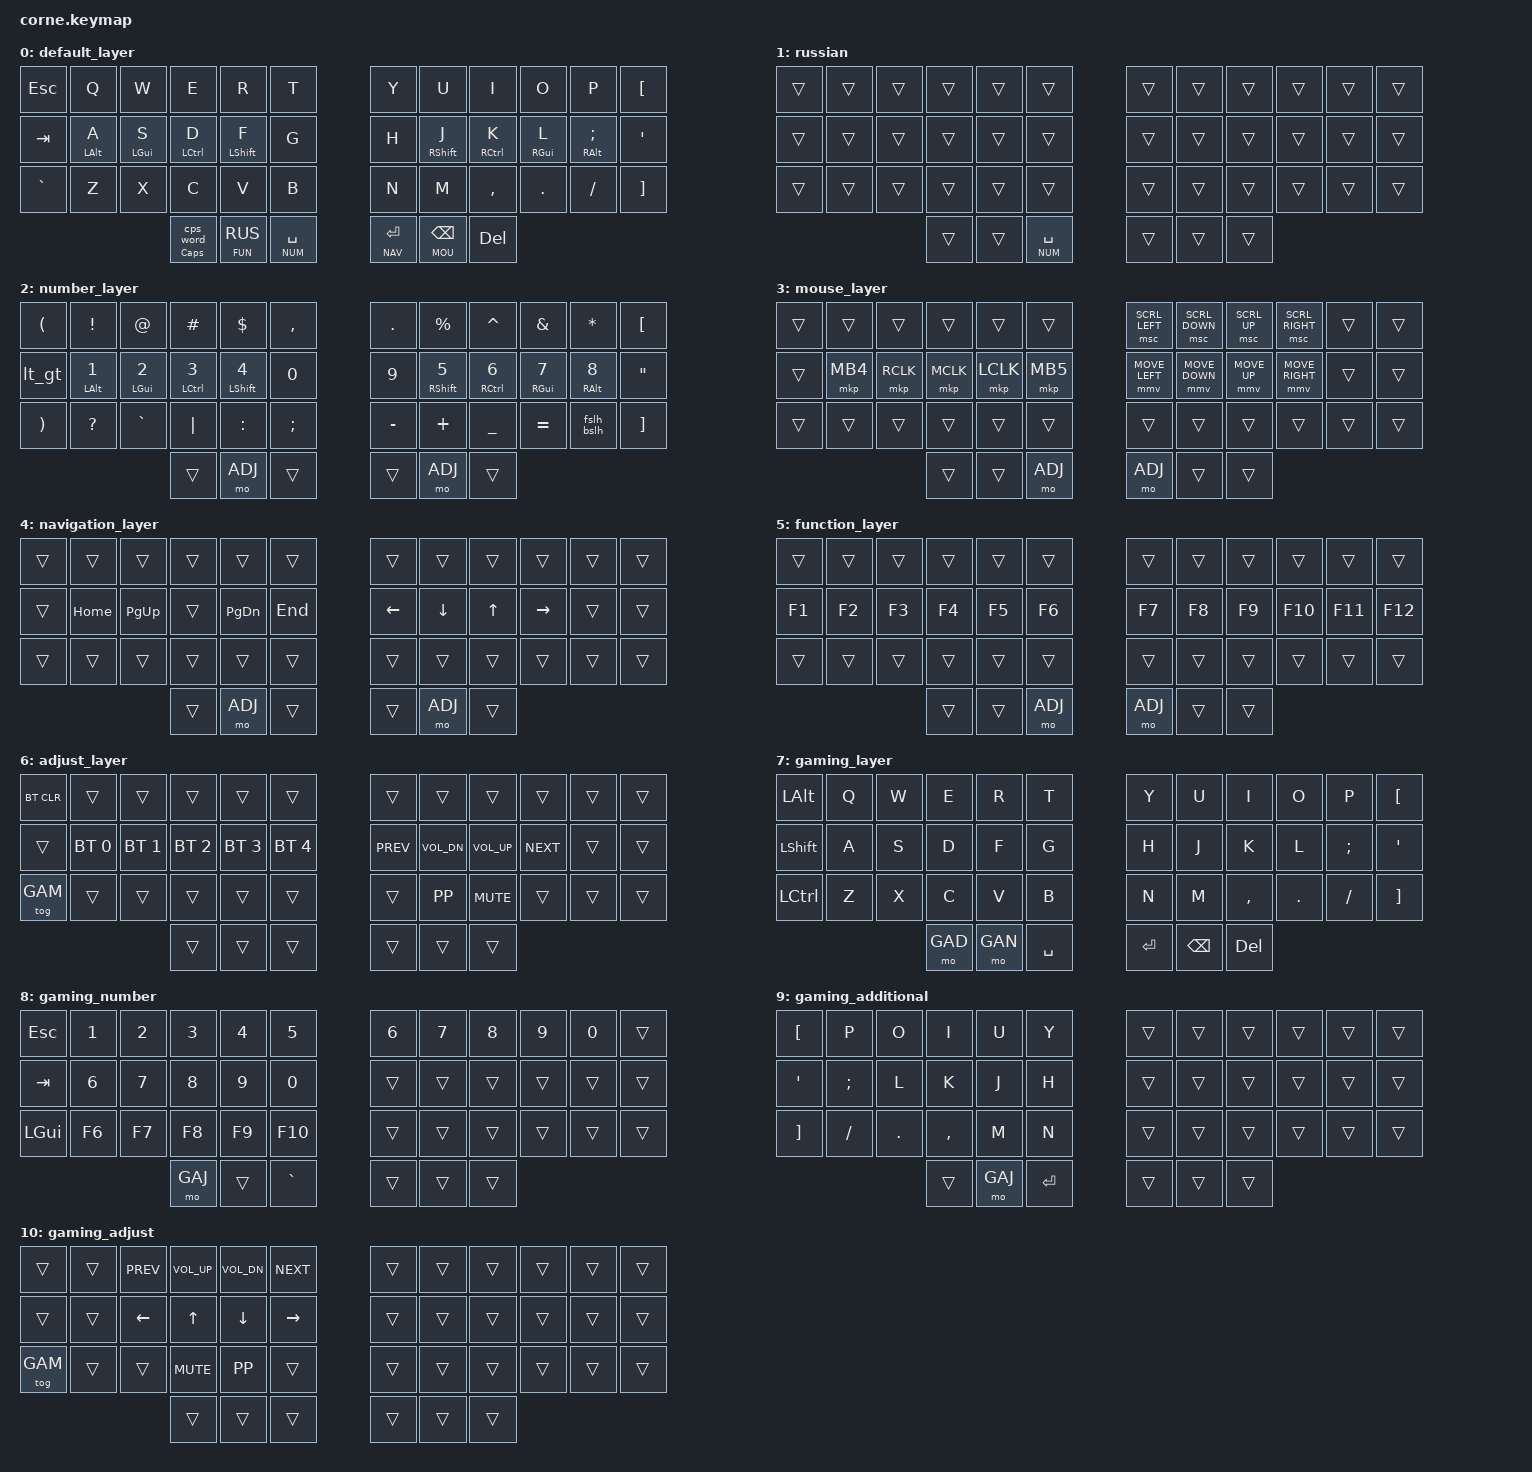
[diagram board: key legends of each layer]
/*
 * Copyright (c) 2020 The ZMK Contributors
 *
 * SPDX-License-Identifier: MIT
 */

#include <behaviors/mouse_keys.dtsi>
#include <behaviors.dtsi>
#include <dt-bindings/zmk/bt.h>
#include <dt-bindings/zmk/keys.h>
#include <dt-bindings/zmk/mouse.h>
#include <dt-bindings/zmk/rgb.h>
#include "extra_keys.h"

#define ZMK_MOUSE_DEFAULT_MOVE_VAL 1200
#define ZMK_MOUSE_DEFAULT_SCRL_VAL 20
#define U_MS_U &mmv MOVE_UP
#define U_MS_D &mmv MOVE_DOWN
#define U_MS_L &mmv MOVE_LEFT
#define U_MS_R &mmv MOVE_RIGHT

#define DEF 0
#define RUS 1
#define NUM 2
#define MOU 3
#define NAV 4
#define FUN 5
#define ADJ 6
#define GAM 7
#define GAN 8
#define GAD 9
#define GAJ 10

&caps_word { continue-list = <UNDERSCORE MINUS BACKSPACE DELETE>; };
&sl { release-after-ms = <5000>; };
&sk { release-after-ms = <5000>; };
&lt {
    tapping-term-ms = <250>;
    quick-tap-ms = <150>;
    flavor = "tap-preferred";
};


/* 

            untitled_layer {
                    bindings = <
&trans    &trans     &trans    &trans   &trans   &trans               &trans   &trans     &trans    &trans   &trans    &trans
&trans    &trans     &trans    &trans   &trans   &trans               &trans   &trans     &trans    &trans   &trans    &trans
&trans    &trans     &trans    &trans   &trans   &trans               &trans   &trans     &trans    &trans   &trans    &trans
                               &trans   &trans   &trans               &trans   &trans     &trans
                    >;
            };

*/
/ {
    behaviors {
        #include "behaviors_mod_morph.dtsi"

        mmv {
            acceleration-exponent = <1>;
            time-to-max-speed-ms = <900>;
            delay-ms = <0>;
        };

        cps_word: cps_word {
            compatible = "zmk,behavior-macro";
            #binding-cells = <0>;
            bindings = <&caps_word>;
        };

        tts: tts {
            compatible = "zmk,behavior-hold-tap";
            #binding-cells = <2>;
            flavor = "tap-preferred";
            tapping-term-ms = <200>;
            bindings = <&kp>, <&cps_word>;
        };

        ts: ts {
            compatible = "zmk,behavior-hold-tap";
            #binding-cells = <2>;
            flavor = "tap-preferred";
            tapping-term-ms = <200>; 
            quick-tap-ms = <150>; 
            bindings = <&kp>, <&kp>;
        };

        alt: alt {
            compatible = "zmk,behavior-hold-tap";
            #binding-cells = <2>;
            flavor = "hold-preferred";
            tapping-term-ms = <150>;
            bindings = <&mo>, <&kp>;
        };

        motog: motog {
            compatible = "zmk,behavior-hold-tap";
            #binding-cells = <2>;
            flavor = "hold-preferred";
            tapping-term-ms = <250>;
            quick-tap-ms = <0>;
            bindings = <&mo>, <&tog_layout>;
        };

        tog_layout: tog_layout {
            compatible = "zmk,behavior-macro-one-param";
            #binding-cells = <1>;
            bindings
                = <&macro_tap &kp NEXT_LAYOUT &macro_param_1to1 &tog MACRO_PLACEHOLDER>
            ;
        };

        lalt: lalt {
            compatible = "zmk,behavior-hold-tap";
            #binding-cells = <2>;
            flavor = "hold-preferred";
            tapping-term-ms = <150>;
            bindings = <&mo_layout>, <&kp>;
        };

        mo_layout: mo_layout {
            compatible = "zmk,behavior-macro-one-param";
            #binding-cells = <1>;
            wait-ms = <0>;
            bindings
                = <&macro_press &macro_param_1to1 &mo MACRO_PLACEHOLDER>
                , <&macro_tap &kp NEXT_LAYOUT>
                , <&macro_pause_for_release>
                , <&macro_tap &kp PREV_LAYOUT>
                , <&macro_release &macro_param_1to1 &mo MACRO_PLACEHOLDER>
            ;
        };
    };
};

/ {
        keymap {
                compatible = "zmk,keymap";

                default_layer {
                    bindings = <
&kp ESC     &kp Q       &kp W       &kp E        &kp R          &kp T                &kp Y           &kp U         &kp I        &kp O       &kp P          &kp LBKT
&kp TAB     &ts LALT A  &ts LGUI S  &ts LCTRL D  &ts LSHFT F    &kp G                &kp H           &ts RSHFT J   &ts RCTRL K  &ts RGUI L  &ts RALT SEMI  &kp SQT
&kp GRAVE   &kp Z       &kp X       &kp C        &kp V          &kp B                &kp N           &kp M         &kp COMMA    &kp DOT     &kp FSLH       &kp RBKT 
                                    &tts CAPS 0  &motog FUN RUS &alt NUM SPACE       &alt NAV ENTER  &lt MOU BSPC  &kp DELETE
                    >;
                };

                russian {
                    bindings = <
&trans  &trans  &trans  &trans  &trans  &trans              &trans  &trans  &trans  &trans  &trans  &trans
&trans  &trans  &trans  &trans  &trans  &trans              &trans  &trans  &trans  &trans  &trans  &trans
&trans  &trans  &trans  &trans  &trans  &trans              &trans  &trans  &trans  &trans  &trans  &trans
                        &trans  &trans  &lalt NUM SPACE     &trans  &trans  &trans
                    >;

                };
		number_layer {
		    bindings = <
&kp LPAR    &kp EXCL    &kp AT	    &kp HASH	    &kp DOLLAR      &kp COMMA       &kp PERIOD  &kp PRCNT       &kp CARET	&kp AMPS    &kp STAR    &kp LEFT_BRACKET
&lt_gt      &ts LALT N1 &ts LGUI N2 &ts LCTRL N3    &ts LSHFT N4    &kp N0          &kp N9      &ts RSHFT N5    &ts RCTRL N6    &ts RGUI N7 &ts RALT N8 &kp DOUBLE_QUOTES
&kp RPAR    &kp QMARK   &kp GRAVE   &kp PIPE        &kp COLON       &kp SEMI        &kp MINUS   &kp PLUS        &kp UNDER	&kp EQUAL   &fslh_bslh	&kp RIGHT_BRACKET
				    &trans          &mo ADJ         &trans	    &trans	&mo ADJ	        &trans
		    >;
		};


                mouse_layer {
                        bindings = <
&trans     &trans      &trans      &trans       &trans        &trans                &msc SCRL_LEFT  &msc SCRL_DOWN  &msc SCRL_UP  &msc SCRL_RIGHT  &trans       &trans
&trans     &mkp MB4    &mkp RCLK   &mkp MCLK    &mkp LCLK     &mkp MB5              &mmv MOVE_LEFT  &mmv MOVE_DOWN  &mmv MOVE_UP  &mmv MOVE_RIGHT  &trans       &trans
&trans     &trans      &trans      &trans       &trans        &trans                &trans          &trans          &trans        &trans           &trans       &trans
                                   &trans       &trans        &mo ADJ               &mo ADJ         &trans          &trans
                    >;

                };


                navigation_layer {
                        bindings = <
&trans     &trans      &trans      &trans       &trans        &trans                &trans          &trans          &trans        &trans           &trans       &trans
&trans     &kp HOME    &kp PG_UP   &trans       &kp PG_DN     &kp END               &kp LEFT        &kp DOWN        &kp UP        &kp RIGHT        &trans       &trans
&trans     &trans      &trans      &trans       &trans        &trans                &trans          &trans          &trans        &trans           &trans       &trans
                                   &trans       &mo ADJ       &trans                &trans          &mo ADJ         &trans
                    >;

                };


                function_layer {
                        bindings = <
&trans  &trans  &trans  &trans  &trans  &trans      &trans  &trans  &trans  &trans  &trans  &trans
&kp F1  &kp F2  &kp F3  &kp F4  &kp F5  &kp F6      &kp F7  &kp F8  &kp F9  &kp F10 &kp F11 &kp F12
&trans  &trans  &trans  &trans  &trans  &trans      &trans  &trans  &trans  &trans  &trans  &trans
                        &trans  &trans  &mo ADJ     &mo ADJ &trans  &trans
                        >;
                };



                adjust_layer {
                        bindings = <
&bt BT_CLR      &trans        &trans        &trans        &trans        &trans              &trans      &trans          &trans          &trans      &trans  &trans
&trans          &bt BT_SEL 0  &bt BT_SEL 1  &bt BT_SEL 2  &bt BT_SEL 3  &bt BT_SEL 4        &kp C_PREV  &kp C_VOL_DN    &kp C_VOL_UP    &kp C_NEXT  &trans  &trans    
&tog GAM        &trans        &trans        &trans        &trans        &trans              &trans      &kp K_PP        &kp C_MUTE      &trans      &trans  &trans  
                                            &trans        &trans        &trans              &trans      &trans          &trans
                        >;
                };

                gaming_layer {
                    bindings = <
&kp LALT   &kp Q      &kp W     &kp E     &kp R      &kp T                &kp Y     &kp U       &kp I     &kp O   &kp P     &kp LBKT 
&kp LSHFT  &kp A      &kp S     &kp D     &kp F      &kp G                &kp H     &kp J       &kp K     &kp L   &kp SEMI  &kp SQT
&kp LCTRL  &kp Z      &kp X     &kp C     &kp V      &kp B                &kp N     &kp M       &kp COMMA &kp DOT &kp FSLH  &kp RBKT
                                &mo GAD   &mo GAN    &kp SPACE            &kp ENTER &kp BSPC    &kp DELETE
                    >;
                };

                gaming_number {
                    bindings = <
&kp ESC   &kp N1     &kp N2    &kp N3   &kp N4   &kp N5         &kp N6  &kp N7  &kp N8  &kp N9  &kp N0  &trans
&kp TAB   &kp N6     &kp N7    &kp N8   &kp N9   &kp N0         &trans  &trans  &trans  &trans  &trans  &trans
&kp LGUI  &kp F6     &kp F7    &kp F8   &kp F9   &kp F10        &trans  &trans  &trans  &trans  &trans  &trans
                               &mo GAJ  &trans   &kp GRAVE      &trans  &trans  &trans
                    >;
                };

                gaming_additional {
                    bindings = <
&kp LBKT    &kp P     &kp O     &kp I       &kp U   &kp Y           &trans  &trans  &trans  &trans  &trans  &trans
&kp SQT     &kp SEMI  &kp L     &kp K       &kp J   &kp H           &trans  &trans  &trans  &trans  &trans  &trans
&kp RBKT    &kp FSLH  &kp DOT   &kp COMMA   &kp M   &kp N           &trans  &trans  &trans  &trans  &trans  &trans
                                &trans      &mo GAJ &kp ENTER       &trans  &trans  &trans
                    >;
                };

                gaming_adjust {
                    bindings = <
&trans      &trans  &kp C_PREV  &kp C_VOL_UP    &kp C_VOL_DN    &kp C_NEXT      &trans  &trans  &trans  &trans  &trans  &trans
&trans      &trans  &kp LEFT    &kp UP          &kp DOWN        &kp RIGHT       &trans  &trans  &trans  &trans  &trans  &trans
&tog GAM    &trans  &trans      &kp C_MUTE      &kp K_PP        &trans          &trans  &trans  &trans  &trans  &trans  &trans
                                &trans          &trans          &trans          &trans  &trans  &trans
                    >;
                };
         };
};

/ {
    combos {
        compatible = "zmk,combos";

        esc: esc {
            timeout-ms = <90>;
            key-positions = <19 22>;  // J ;
            bindings = <&kp ESC>;
        };

        backspace: backspace {
            timeout-ms = <90>;
            key-positions = <37 38>;
            bindings = <&kp BSPC>;
            layers = <GAM>;
        };


/**/
/*         bspc: bspc { */
/*             timeout-ms = <250>; */
/*             key-positions = <14 32>; */
/*             bindings = <&kp BSPC>; */
/*         }; */
/**/
/*         del: del { */
/*             timeout-ms = <300>; */
/*             key-positions = <14 33>; */
/*             bindings = <&kp DEL>; */
/*         }; */
/**/
/*         enter: enter { */
/*             timeout-ms = <250>; */
/*             key-positions = <15 31>; */
/*             bindings = <&kp ENTER>; */
/*         }; */
/**/
    };
};
